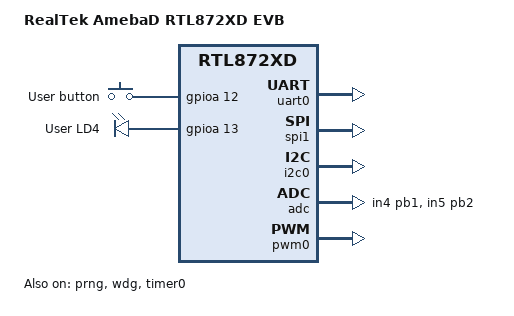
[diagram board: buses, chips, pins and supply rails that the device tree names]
/*
 * Copyright (c) 2024 Realtek Semiconductor Corp.
 *
 * SPDX-License-Identifier: Apache-2.0
 */

/dts-v1/;

#include <realtek/amebad/amebad.dtsi>
#include "rtl872xd_evb-pinctrl.dtsi"

/ {
	model = "RealTek AmebaD RTL872XD EVB";
	compatible = "realtek,rtl872xd_evb";

	chosen {
		zephyr,console = &loguart;
		zephyr,shell-uart = &loguart;
		zephyr,sram = &sram0;
		zephyr,flash = &flash0;
		zephyr,entropy = &prng;
		zephyr,flash-controller = &spic;
	};

	aliases {
		i2c-0 = &i2c0;
		rtc = &rtc;
		sw0 = &button0;
		watchdog0 = &wdg;
		pwm-0 = &pwm0;
		led0 = &green_led_4;
	};

	buttons {
		compatible = "gpio-keys";
		button0: button_0 {
			gpios = < &gpioa 12 (GPIO_PULL_UP | GPIO_ACTIVE_HIGH)>;
			label = "User button";
			zephyr,code = <INPUT_KEY_4>;
		};
	};

	leds {
		compatible = "gpio-leds";
		green_led_4: led_4 {
			gpios = <&gpioa 13 (GPIO_PULL_UP | GPIO_ACTIVE_HIGH)>;
			label = "User LD4";
		};
	};
};

/* 4MB flash */
&flash0 {
	reg = <0x0e000020 DT_SIZE_M(4)>;

	partitions {
		compatible = "fixed-partitions";
		#address-cells = <1>;
		#size-cells = <1>;

		/* Reserve 80kB for the bootloader */
		boot_partition: partition@0 {
			label = "bootloader";
			reg = <0x00000000 0x00014000>;
			read-only;
		};

		/* Reserve 1968kB for the application in slot 0 */
		slot0_partition: partition@14000 {
			label = "image-0";
			reg = <0x00014000 0x001EC000>;
		};

		storage_partition: partition@250000 {
			label = "storage";
			reg = <0x00250000 0x00006000>;
		};
	};
};

&prng {
	status = "okay";
};

&gpioa {
	status = "okay";
};

&uart0 {
	pinctrl-0 = <&uart0_default>;
	pinctrl-names = "default";
	status = "okay";
};

/* spi1 only be master */
&spi1 {
	pinctrl-0 = <&spi1_default>;
	pinctrl-names = "default";
	rtk,spi-default-cs = <0>;
	status = "okay";
};

&i2c0 {
	pinctrl-0 = <&i2c0_default>;
	pinctrl-names = "default";
	status = "okay";
};

&adc {
	pinctrl-0 = <&adc_in4_pb1 &adc_in5_pb2>;
	pinctrl-names = "default";
	status = "okay";
};

&pwm0 {
	pinctrl-0 = <&pwm0_default>;
	pinctrl-names = "default";
	prescale = <255>;
	status = "okay";
};

&wdg {
	status = "okay";
};

&timer0 {
	status = "okay";
};
